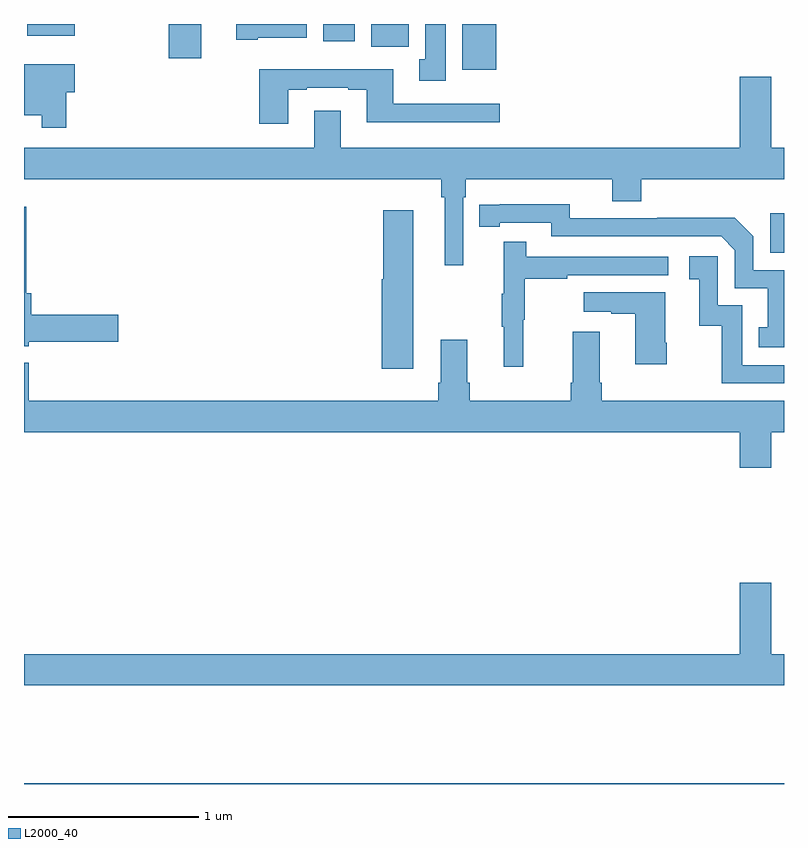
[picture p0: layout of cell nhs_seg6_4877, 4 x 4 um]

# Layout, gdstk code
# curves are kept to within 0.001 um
import gdstk
lib = gdstk.Library(unit=1e-6, precision=1e-09)
def R(c, l, rs):  # rectangles x0, y0, x1, y1
    for r in rs: c.add(gdstk.rectangle(r[:2], r[2:], *l))
def P(c, l, *ps):  # polygons
    for p in ps: c.add(gdstk.Polygon(p, *l))
L2000_40 = (2000, 40)

nhs_seg6_4877 = lib.new_cell('nhs_seg6_4877')
R(nhs_seg6_4877, L2000_40, [(401,929.5,405,929.504), (404.928,932.295,405,932.503), (403.307,933.26,403.486,933.5), (401.762,933.321,401.932,933.5), (402.827,933.38,403.024,933.5), (402.575,933.408,402.742,933.5), (401.018,933.437,401.267,933.5)])
P(nhs_seg6_4877, L2000_40, [(403.219,933.5),(403.112,933.5),(403.112,933.314),(403.079,933.314),(403.079,933.201),(403.219,933.201)],
  [(402.229,933.428),(402.487,933.428),(402.487,933.5),(402.117,933.5),(402.117,933.416),(402.229,933.416)],
  [(401.222,933.142),(401.266,933.142),(401.266,933.289),(401,933.289),(401,933.02),(401.094,933.02),(401.094,932.955),(401.222,932.955)],
  [(402.391,933.153),(402.487,933.153),(402.487,933.165),(402.707,933.165),(402.707,933.153),(402.803,933.153),(402.803,932.984),(403.504,932.984),(403.504,933.081),(402.943,933.081),(402.943,933.262),(402.239,933.262),(402.239,932.976),(402.391,932.976)],
  [(403.311,932.588),(403.325,932.588),(403.325,932.684),(404.096,932.684),(404.096,932.567),(404.249,932.567),(404.249,932.684),(405,932.684),(405,932.848),(404.932,932.848),(404.932,933.223),(404.768,933.223),(404.768,932.848),(402.667,932.848),(402.667,933.043),(402.527,933.043),(402.527,932.848),(401,932.848),(401,932.684),(403.195,932.684),(403.195,932.588),(403.214,932.588),(403.214,932.229),(403.311,932.229)],
  [(405,932.205),(404.838,932.205),(404.838,932.382),(404.74,932.48),(404.332,932.48),(404.332,932.478),(403.872,932.478),(403.872,932.551),(403.396,932.55),(403.396,932.434),(403.504,932.434),(403.504,932.454),(403.776,932.454),(403.776,932.382),(404.67,932.382),(404.742,932.31),(404.742,932.109),(404.915,932.109),(404.915,931.905),(404.866,931.905),(404.866,931.8),(405,931.8)],
  [(401.026,931.828),(401.497,931.828),(401.497,931.97),(401.039,931.97),(401.039,932.083),(401.012,932.083),(401.012,932.539),(401,932.539),(401,931.803),(401.026,931.803)],
  [(403.048,932.521),(402.89,932.521),(402.89,932.157),(402.884,932.157),(402.884,931.686),(403.048,931.686)],
  [(403.628,931.944),(403.636,931.944),(403.636,932.158),(403.859,932.158),(403.859,932.178),(404.392,932.178),(404.392,932.274),(403.643,932.274),(403.643,932.353),(403.526,932.353),(403.526,932.081),(403.515,932.081),(403.515,931.907),(403.526,931.907),(403.526,931.695),(403.628,931.695)],
  [(405,931.704),(404.781,931.704),(404.781,932.019),(404.652,932.019),(404.652,932.278),(404.502,932.278),(404.502,932.157),(404.555,932.157),(404.555,931.911),(404.673,931.911),(404.673,931.608),(405,931.608)],
  [(404.382,931.822),(404.374,931.822),(404.374,932.089),(403.947,932.089),(403.947,931.985),(404.09,931.985),(404.09,931.975),(404.216,931.975),(404.216,931.71),(404.382,931.71)],
  [(404.932,931.352),(405,931.352),(405,931.516),(404.042,931.516),(404.042,931.612),(404.029,931.612),(404.029,931.879),(403.889,931.879),(403.889,931.612),(403.877,931.612),(403.877,931.516),(403.346,931.516),(403.346,931.612),(403.333,931.612),(403.333,931.837),(403.193,931.837),(403.193,931.612),(403.181,931.612),(403.181,931.516),(401.024,931.516),(401.024,931.718),(401,931.718),(401,931.352),(404.768,931.352),(404.768,931.164),(404.932,931.164)],
  [(405,930.184),(404.932,930.184),(404.932,930.559),(404.768,930.559),(404.768,930.184),(401,930.184),(401,930.02),(405,930.02)])

lib.write_gds('nhs_seg6_4877.gds')
